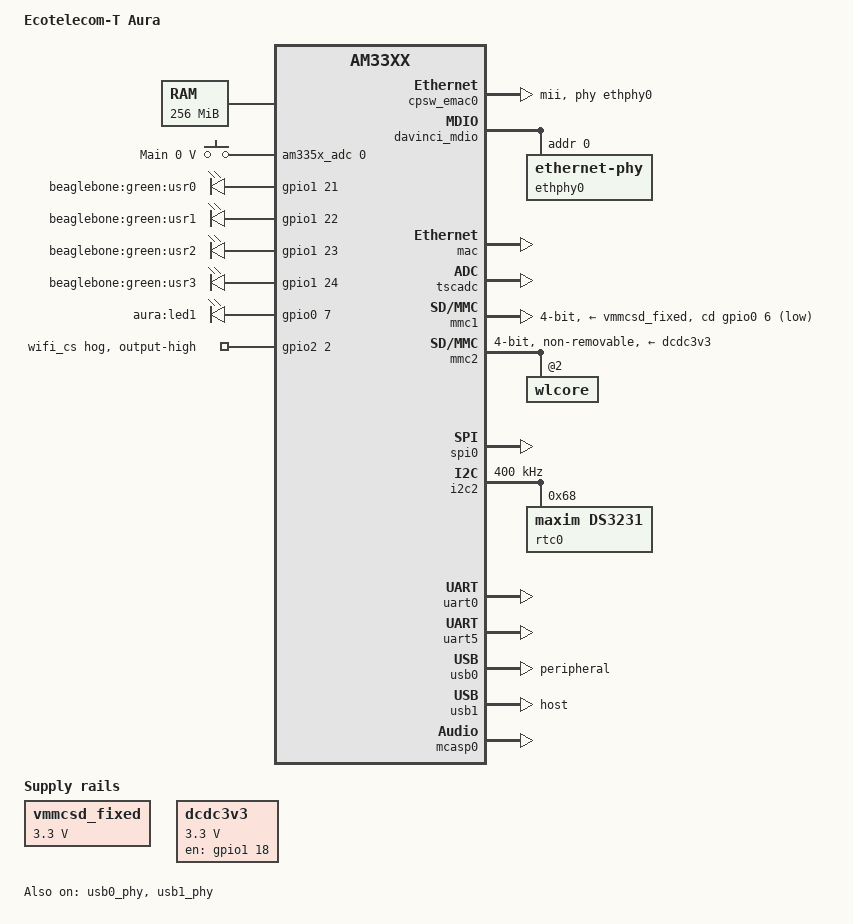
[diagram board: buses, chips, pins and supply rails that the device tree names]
// SPDX-License-Identifier: GPL-2.0-only
/*
 * Copyright (C) 2020 Ecotelecom-T
 */
/dts-v1/;

#include "am33xx.dtsi"
#include <dt-bindings/input/input.h>

/ {
	model = "Ecotelecom-T Aura";
	compatible = "aura,am335x-aura", "ti,am33xx";

	memory@80000000 {
		device_type = "memory";
		reg = <0x80000000 0x10000000>; /* 256 MB */
	};


	adc-keys {
		compatible = "adc-keys";
		io-channels = <&am335x_adc 0>;
		io-channel-names = "buttons";
		keyup-threshold-microvolt = <2000000>;

		button0 {
			label = "Main";
			linux,code = <KEY_POWER>;
			press-threshold-microvolt = <0>;
		};
	};


	leds: user_leds {
		
		pinctrl-names = "default";
		pinctrl-0 = <&user_leds_s0>;

		compatible = "gpio-leds";

		usr_0_led {
			label = "beaglebone:green:usr0";
			gpios = <&gpio1 21 GPIO_ACTIVE_HIGH>;
			linux,default-trigger = "heartbeat";
			default-state = "off";
		};

		usr_1_led {
			label = "beaglebone:green:usr1";
			gpios = <&gpio1 22 GPIO_ACTIVE_HIGH>;
			linux,default-trigger = "mmc0";
			default-state = "off";
		};

		usr_2_led {
			label = "beaglebone:green:usr2";
			gpios = <&gpio1 23 GPIO_ACTIVE_HIGH>;
			linux,default-trigger = "cpu0";
			default-state = "off";
		};

		usr_3_led {
			label = "beaglebone:green:usr3";
			gpios = <&gpio1 24 GPIO_ACTIVE_HIGH>;
			linux,default-trigger = "mmc1";
			default-state = "off";
		};

		usr_4_led {
			label = "aura:led1";
			gpios = <&gpio0 7 GPIO_ACTIVE_HIGH>;
			linux,default-trigger = "cpu0";
			default-state = "keep";
		};
	};

	pcm5102a: pcm5102a {
		#sound-dai-cells = <0>;
		compatible = "ti,pcm5102a";
		status = "okay";
	};

	sound {
		compatible = "simple-audio-card";
		simple-audio-card,name = "TI PCM5102A";
		simple-audio-card,format = "i2s";
		simple-audio-card,bitclock-master = <&dailink0_master>;
		simple-audio-card,frame-master = <&dailink0_master>;
		simple-audio-card,bitclock-inversion;
		dailink0_master: simple-audio-card,cpu {
			sound-dai = <&mcasp0>;
			system-clock-frequency = <24000000>;
			system-clock-direction-out;
		};
		
		simple-audio-card,codec {
			sound-dai = <&pcm5102a>;     
		};
	};

	vmmcsd_fixed: fixedregulator0 {
		compatible = "regulator-fixed";
		regulator-name = "vmmcsd_fixed";
		regulator-min-microvolt = <3300000>;
		regulator-max-microvolt = <3300000>;		
		regulator-always-on;
	};

	dcdc3v3: fixedregulator1 {
		compatible = "regulator-fixed";
		regulator-name = "dcdc3v3";
		regulator-min-microvolt = <3300000>;
		regulator-max-microvolt = <3300000>;
		regulator-always-on;
		enable-active-high;
		gpio = <&gpio1 18 GPIO_ACTIVE_HIGH >; /* P9-14 */
	};

};

/* Ethernet */
&cpsw_emac0 {
	status = "okay";
	phy-handle = <&ethphy0>;
	phy-mode = "mii";
};


&davinci_mdio {
	pinctrl-names = "default", "sleep";
	pinctrl-0 = <&davinci_mdio_default>;
	pinctrl-1 = <&davinci_mdio_sleep>;
	status = "okay";

	ethphy0: ethernet-phy@0 {
		reg = <0>;
	};
};

&mac {
	slaves = <1>;
	pinctrl-names = "default", "sleep";
	pinctrl-0 = <&cpsw_default>;
	pinctrl-1 = <&cpsw_sleep>;
	status = "okay";
};

/* Enable ADC Channel 1 */
&tscadc {
    status = "okay";    
    adc {
        ti,adc-channels = < 1 >;
    };  
};


&am33xx_pinmux {
	cpsw_default: cpsw_default {
		pinctrl-single,pins = <
			/* Slave 1 */
			AM33XX_PADCONF(AM335X_PIN_MII1_RX_ER, PIN_INPUT_PULLUP, MUX_MODE0)
			AM33XX_PADCONF(AM335X_PIN_MII1_TX_EN, PIN_OUTPUT_PULLDOWN, MUX_MODE0)
			AM33XX_PADCONF(AM335X_PIN_MII1_RX_DV, PIN_INPUT_PULLUP, MUX_MODE0)
			AM33XX_PADCONF(AM335X_PIN_MII1_TXD3, PIN_OUTPUT_PULLDOWN, MUX_MODE0)
			AM33XX_PADCONF(AM335X_PIN_MII1_TXD2, PIN_OUTPUT_PULLDOWN, MUX_MODE0)
			AM33XX_PADCONF(AM335X_PIN_MII1_TXD1, PIN_OUTPUT_PULLDOWN, MUX_MODE0)
			AM33XX_PADCONF(AM335X_PIN_MII1_TXD0, PIN_OUTPUT_PULLDOWN, MUX_MODE0)
			AM33XX_PADCONF(AM335X_PIN_MII1_TX_CLK, PIN_INPUT_PULLUP, MUX_MODE0)
			AM33XX_PADCONF(AM335X_PIN_MII1_RX_CLK, PIN_INPUT_PULLUP, MUX_MODE0)
			AM33XX_PADCONF(AM335X_PIN_MII1_RXD3, PIN_INPUT_PULLUP, MUX_MODE0)
			AM33XX_PADCONF(AM335X_PIN_MII1_RXD2, PIN_INPUT_PULLUP, MUX_MODE0)
			AM33XX_PADCONF(AM335X_PIN_MII1_RXD1, PIN_INPUT_PULLUP, MUX_MODE0)
			AM33XX_PADCONF(AM335X_PIN_MII1_RXD0, PIN_INPUT_PULLUP, MUX_MODE0)
		>;
	};

	cpsw_sleep: cpsw_sleep {
		pinctrl-single,pins = <
			/* Slave 1 reset value */
			AM33XX_PADCONF(AM335X_PIN_MII1_RX_ER, PIN_INPUT_PULLDOWN, MUX_MODE7)
			AM33XX_PADCONF(AM335X_PIN_MII1_TX_EN, PIN_INPUT_PULLDOWN, MUX_MODE7)
			AM33XX_PADCONF(AM335X_PIN_MII1_RX_DV, PIN_INPUT_PULLDOWN, MUX_MODE7)
			AM33XX_PADCONF(AM335X_PIN_MII1_TXD3, PIN_INPUT_PULLDOWN, MUX_MODE7)
			AM33XX_PADCONF(AM335X_PIN_MII1_TXD2, PIN_INPUT_PULLDOWN, MUX_MODE7)
			AM33XX_PADCONF(AM335X_PIN_MII1_TXD1, PIN_INPUT_PULLDOWN, MUX_MODE7)
			AM33XX_PADCONF(AM335X_PIN_MII1_TXD0, PIN_INPUT_PULLDOWN, MUX_MODE7)
			AM33XX_PADCONF(AM335X_PIN_MII1_TX_CLK, PIN_INPUT_PULLDOWN, MUX_MODE7)
			AM33XX_PADCONF(AM335X_PIN_MII1_RX_CLK, PIN_INPUT_PULLDOWN, MUX_MODE7)
			AM33XX_PADCONF(AM335X_PIN_MII1_RXD3, PIN_INPUT_PULLDOWN, MUX_MODE7)
			AM33XX_PADCONF(AM335X_PIN_MII1_RXD2, PIN_INPUT_PULLDOWN, MUX_MODE7)
			AM33XX_PADCONF(AM335X_PIN_MII1_RXD1, PIN_INPUT_PULLDOWN, MUX_MODE7)
			AM33XX_PADCONF(AM335X_PIN_MII1_RXD0, PIN_INPUT_PULLDOWN, MUX_MODE7)
		>;
	};

	davinci_mdio_default: davinci_mdio_default {
		pinctrl-single,pins = <
			/* MDIO */
			AM33XX_PADCONF(AM335X_PIN_MDIO, PIN_INPUT_PULLUP | SLEWCTRL_FAST, MUX_MODE0)
			AM33XX_PADCONF(AM335X_PIN_MDC, PIN_OUTPUT_PULLUP, MUX_MODE0)
		>;
	};

	davinci_mdio_sleep: davinci_mdio_sleep {
		pinctrl-single,pins = <
			/* MDIO reset value */
			AM33XX_PADCONF(AM335X_PIN_MDIO, PIN_INPUT_PULLDOWN, MUX_MODE7)
			AM33XX_PADCONF(AM335X_PIN_MDC, PIN_INPUT_PULLDOWN, MUX_MODE7)
		>;
	};


	mdio_pins: pinmux_mdio {
		pinctrl-single,pins = <
			AM33XX_PADCONF(AM335X_PIN_MDIO, PIN_INPUT_PULLUP | SLEWCTRL_FAST, MUX_MODE0)
			AM33XX_PADCONF(AM335X_PIN_MDC, PIN_OUTPUT_PULLUP, MUX_MODE0)
		>;
	};

	user_leds_s0: user_leds_s0 {
		pinctrl-single,pins = <
			AM33XX_PADCONF(AM335X_PIN_GPMC_A5, PIN_OUTPUT, MUX_MODE7) /* (V15) gpmc_a5.gpio1[21] - USR_LED_0 */
			AM33XX_PADCONF(AM335X_PIN_GPMC_A6, PIN_OUTPUT, MUX_MODE7) /* (U15) gpmc_a6.gpio1[22] - USR_LED_1 */
			AM33XX_PADCONF(AM335X_PIN_GPMC_A7, PIN_OUTPUT, MUX_MODE7) /* (T15) gpmc_a7.gpio1[23] - USR_LED_2 */
			AM33XX_PADCONF(AM335X_PIN_GPMC_A8, PIN_OUTPUT, MUX_MODE7) /* (V16) gpmc_a8.gpio1[24] - USR_LED_3 */
			AM33XX_PADCONF(AM335X_PIN_ECAP0_IN_PWM0_OUT, PIN_OUTPUT, MUX_MODE7) /* (C18) gpio0[7] - TOP_LED */
		>;
	};

	audio_pins: pinmux_audio_pins {
		pinctrl-single,pins = <
			AM33XX_PADCONF(AM335X_PIN_MCASP0_AHCLKX, PIN_INPUT_PULLUP, MUX_MODE0) /* mcasp0_ahcklx.mcasp0_ahclkx */
			AM33XX_PADCONF(AM335X_PIN_MCASP0_AHCLKR, PIN_OUTPUT_PULLDOWN, MUX_MODE2) /* mcasp0_ahclkr.mcasp0_axr2*/
			AM33XX_PADCONF(AM335X_PIN_MCASP0_FSX, PIN_OUTPUT_PULLUP, MUX_MODE0)
			AM33XX_PADCONF(AM335X_PIN_MCASP0_ACLKX, PIN_OUTPUT_PULLDOWN, MUX_MODE0)
		>;
	};

	uart0_pins: pinmux_uart0 {
		pinctrl-single,pins = <
			AM33XX_PADCONF(AM335X_PIN_UART0_RXD, PIN_INPUT_PULLUP, MUX_MODE0)
			AM33XX_PADCONF(AM335X_PIN_UART0_TXD, PIN_OUTPUT_PULLDOWN, MUX_MODE0)
		>;
	};

	uart5_pins: pinmux_uart5 {
		pinctrl-single,pins = <
			AM33XX_PADCONF(AM335X_PIN_LCD_DATA9, PIN_INPUT_PULLUP, MUX_MODE4)	/* (U2) lcd_data9.uart5_rxd */
			AM33XX_PADCONF(AM335X_PIN_LCD_DATA8, PIN_OUTPUT_PULLDOWN, MUX_MODE4)	/* (U1) lcd_data8.uart5_txd */
		>;
	};

	sd_pins: pinmux_sd_card {
		pinctrl-single,pins = <
			AM33XX_PADCONF(AM335X_PIN_MMC0_DAT3, PIN_INPUT_PULLUP, MUX_MODE0)
			AM33XX_PADCONF(AM335X_PIN_MMC0_DAT2, PIN_INPUT_PULLUP, MUX_MODE0)
			AM33XX_PADCONF(AM335X_PIN_MMC0_DAT1, PIN_INPUT_PULLUP, MUX_MODE0)
			AM33XX_PADCONF(AM335X_PIN_MMC0_DAT0, PIN_INPUT_PULLUP, MUX_MODE0)
			AM33XX_PADCONF(AM335X_PIN_MMC0_CLK, PIN_INPUT_PULLUP, MUX_MODE0)
			AM33XX_PADCONF(AM335X_PIN_MMC0_CMD, PIN_INPUT_PULLUP, MUX_MODE0)
			AM33XX_PADCONF(AM335X_PIN_SPI0_CS1, PIN_INPUT, MUX_MODE7)		/* spi0_cs1.gpio0_6 */
		>;
	};

	wireless_pins: pinmux_emmc {
		pinctrl-single,pins = <
			AM33XX_PADCONF(AM335X_PIN_GPMC_CSN1, PIN_INPUT_PULLUP, MUX_MODE2)	/* gpmc_csn1.mmc1_clk */
			AM33XX_PADCONF(AM335X_PIN_GPMC_CSN2, PIN_INPUT_PULLUP, MUX_MODE2)	/* gpmc_csn2.mmc1_cmd */
			AM33XX_PADCONF(AM335X_PIN_GPMC_AD0, PIN_INPUT_PULLUP, MUX_MODE1)	/* gpmc_ad0.mmc1_dat0 */
			AM33XX_PADCONF(AM335X_PIN_GPMC_AD1, PIN_INPUT_PULLUP, MUX_MODE1)	/* gpmc_ad1.mmc1_dat1 */
			AM33XX_PADCONF(AM335X_PIN_GPMC_AD2, PIN_INPUT_PULLUP, MUX_MODE1)	/* gpmc_ad2.mmc1_dat2 */
			AM33XX_PADCONF(AM335X_PIN_GPMC_AD3, PIN_INPUT_PULLUP, MUX_MODE1)	/* gpmc_ad3.mmc1_dat3 */
		>;
	};

	wireless_cs: pinmux_wireless {
		pinctrl-single,pins = <
			AM33XX_PADCONF(AM335X_PIN_GPMC_ADVN_ALE, PIN_OUTPUT_PULLDOWN, MUX_MODE7)
		>;
	};

	spi0_pins: pinmux_spi0 {
		pinctrl-single,pins = <
			AM33XX_PADCONF(AM335X_PIN_SPI0_SCLK, PIN_INPUT_PULLUP, MUX_MODE0)
			AM33XX_PADCONF(AM335X_PIN_SPI0_CS0, PIN_INPUT_PULLUP, MUX_MODE0)
			AM33XX_PADCONF(AM335X_PIN_SPI0_D0, PIN_INPUT_PULLUP, MUX_MODE0)
			AM33XX_PADCONF(AM335X_PIN_SPI0_D1, PIN_INPUT_PULLUP, MUX_MODE0)
		>;
	};

	i2c2_pins: pinmux_i2c2 {
		pinctrl-single,pins = <
			AM33XX_PADCONF(AM335X_PIN_UART1_CTSN, PIN_INPUT_PULLUP, MUX_MODE3)
			AM33XX_PADCONF(AM335X_PIN_UART1_RTSN, PIN_INPUT_PULLUP, MUX_MODE3)
		>;
	};
};

/* MMC */
&mmc1 {
	/* Bootable SD card slot */
	status = "okay";
	bus-width = <4>;
	pinctrl-names = "default";
	pinctrl-0 = <&sd_pins>;
	cd-gpios = <&gpio0 6 GPIO_ACTIVE_LOW>;
	vmmc-supply = <&vmmcsd_fixed>;
};

&mmc2 {
	/* Wifi on MMC #2 */
	status = "okay";
	pinctrl-names = "default";
	pinctrl-0 = <&wireless_pins>;
	bus-width = <4>;
	ti,non-removable;
	non-removable;
	keep-power-in-suspend;
	/*
	dmas = <&edma_xbar 12 0 1
		&edma_xbar 13 0 2>;
	dma-names = "tx", "rx";
	*/
	vmmc-supply = <&dcdc3v3>;
	
	#address-cells = <1>;
	#size-cells = <0>;
	wlcore: wlcore@2 {
		reg = <2>;
	};
};

&gpio2 {
	pinctrl-names = "default";
	pinctrl-0 = <&wireless_cs>;
	wifi_cs {
		gpio-hog;
		gpios = <2 GPIO_ACTIVE_HIGH>;
		output-high;
		line-name = "wifi_cs";
	};
};

/* SPI Busses */
&spi0 {
	status = "okay";
	pinctrl-names = "default";
	pinctrl-0 = <&spi0_pins>;
};

/* RTC */
&i2c2 {
	status = "okay";
	pinctrl-names = "default";
	pinctrl-0 = <&i2c2_pins>;

	clock-frequency = <400000>;

	rtc0: rtc@68 {
		compatible = "maxim,ds3231";
		reg = <0x68>;
		status = "okay";
	};
};

&rtc {
	status = "disabled";
};


/* UARTs */
&uart0 {
	/* Serial Console */
	status = "okay";
	pinctrl-names = "default";
	pinctrl-0 = <&uart0_pins>;
};

&uart5 {
	/* Zigbee */
	status = "okay";
	pinctrl-names = "default";
	pinctrl-0 = <&uart5_pins>;
};

/* USB */

&usb0_phy {
	status = "okay";
};

&usb1_phy {
	status = "okay";
};

&usb0 {
	status = "okay";
    dr_mode = "peripheral";
};

&usb1 {
	status = "okay";
    dr_mode = "host";
};

&cppi41dma {
	status = "okay";
};

&mcasp0 {
	#sound-dai-cells= <0>;
	pinctrl-names = "default";
	pinctrl-0 = <&audio_pins>;
	status = "okay";
	op-mode = <0>;          /* MCASP_IIS_MODE */
	tdm-slots = <2>;
	serial-dir = <  /* 0: INACTIVE, 1: TX, 2: RX */
		0 0 1 0
	>;
	tx-num-evt = <32>;
	rx-num-evt = <32>;
};

